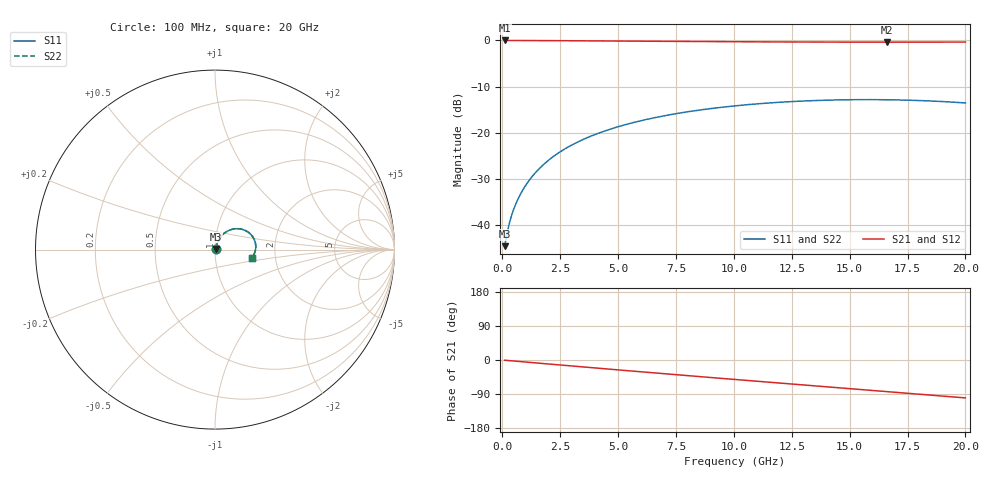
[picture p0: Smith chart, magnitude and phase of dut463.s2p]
! Touchstone file exported from HFSS 2026.1.0
!  File:  C:/ffzhzh/LocalFiles/Ansys_Project_Files/temp_train_TSV_RDL_463_1783101765_35180.aedt
!  Generated:  02:13:25 AM Jul  4, 2026
!  Design:  TSV_RDL
!  Project:  temp_train_TSV_RDL_463_1783101765_35180
! Variables:
!  h_bsmrdl = 3.84um
!  h_ox = 20um
!  h_rdl = 5um
!  h_sub = 66.16um
!  h_tmrdl = 4.58um
!  h_tsv = 66.16um
!  h_via = 3um
!  l_bsmrdl = 118.99um
!  l_sub = 1644.56um
!  l_tmrdl = 187.18um
!  m_sub = 200um
!  pitch = 41.45um
!  r_tsv = 12.49um
!  s_tmrdl = 10um
!  w_bsmrdl = 22.17um
!  w_sub = 500um
!  w_tmrdl = 24.12um
!  x_tsv_center1 = 199.24um
!  x_tsv_center2 = 340.4um
!  x_tsv_center3 = 551.7um
!  x_tsv_center4 = 692.86um
!  x_tsv_center5 = 904.16um
!  x_tsv_center6 = 1045.32um
# GHz S MA R 50.000000
! Terminal data exported
! Port[1] = TM_RDL1_1_T1
! Port[2] = TM_RDL5_1_T1
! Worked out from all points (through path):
!   200 points, 100 MHz to 20 GHz, reference 50 ohm
!   highest |S21| = -0.04 dB at 100 MHz (marker M1); lowest = -0.4 dB at 16.6 GHz (marker M2)
!   group delay of S21, straight-line fit = 13.8 ps
!   lowest |S11| = -44.5 dB at 100 MHz (marker M3), VSWR 1.01, Z = 50.5 + j0.304 ohm
!   |S11| at or under -10 dB: start of sweep to end of sweep
!   |S22| runs from -44.5 to -12.8 dB; largest |S21 - S12| = 1.3e-14
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0.1  0.005947 30.4  0.9949 -0.6  0.9949 -0.6  0.005947 30.4
! Gamma 0 0 0 0
! Port Impedance 50 0 50 0
0.2  0.008058 46.4  0.9945 -1.1  0.9945 -1.1  0.008058 46.4
0.3  0.0104 54.3  0.9941 -1.7  0.9941 -1.7  0.0104 54.3
0.4  0.01275 58.9  0.9938 -2.2  0.9938 -2.2  0.01275 58.9
0.5  0.01507 62.1  0.9935 -2.7  0.9935 -2.7  0.01507 62.1
0.8  0.02205 67.3  0.9928 -4.3  0.9928 -4.3  0.02205 67.3
1.2  0.03152 70.0  0.9921 -6.4  0.9921 -6.4  0.03152 70.0
1.7  0.04344 70.4  0.9911 -9.0  0.9911 -9.0  0.04344 70.4
2.2  0.05526 69.5  0.9899 -11.6  0.9899 -11.6  0.05526 69.5
2.8  0.06917 67.5  0.9883 -14.8  0.9883 -14.8  0.06917 67.5
3.5  0.08486 64.7  0.9861 -18.4  0.9861 -18.4  0.08486 64.7
5  0.1162 57.9  0.9808 -26.1  0.9808 -26.1  0.1162 57.9
6.8  0.1493 49.4  0.9743 -35.2  0.9743 -35.2  0.1493 49.4
8.4  0.1743 41.8  0.9687 -43.2  0.9687 -43.2  0.1743 41.8
10.1  0.196 33.8  0.9634 -51.7  0.9634 -51.7  0.196 33.8
11.8  0.2123 25.8  0.959 -60.0  0.959 -60.0  0.2123 25.8
13.4  0.2225 18.3  0.956 -67.8  0.956 -67.8  0.2225 18.3
15  0.2276 10.8  0.9542 -75.6  0.9542 -75.6  0.2276 10.8
16.6  0.2275 3.3  0.9536 -83.4  0.9536 -83.4  0.2275 3.3
16.7  0.2273 2.8  0.9536 -83.9  0.9536 -83.9  0.2273 2.8
18.4  0.2211 -5.2  0.9543 -92.2  0.9543 -92.2  0.2211 -5.2
20  0.21 -12.8  0.9561 -100.0  0.9561 -100.0  0.21 -12.8
